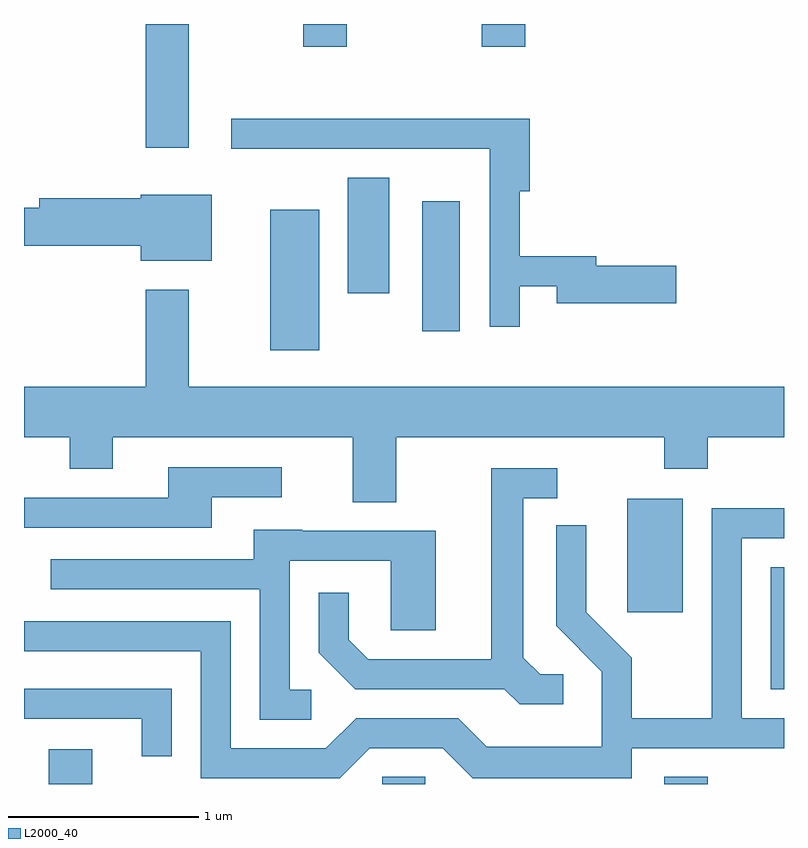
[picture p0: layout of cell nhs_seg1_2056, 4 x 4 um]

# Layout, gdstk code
import gdstk
lib = gdstk.Library(unit=1e-6, precision=1e-09)
def R(c, l, rs):  # rectangles x0, y0, x1, y1
    for r in rs: c.add(gdstk.rectangle(r[:2], r[2:], *l))
def P(c, l, *ps):  # polygons
    for p in ps: c.add(gdstk.Polygon(p, *l))
L2000_40 = (2000, 40)

nhs_seg1_2056 = lib.new_cell('nhs_seg1_2056')
R(nhs_seg1_2056, L2000_40, [(247.741,937.712,247.969,937.894), (249.496,937.712,249.724,937.749), (250.981,937.712,251.209,937.749), (251.541,938.211,251.611,938.854), (250.786,938.616,251.079,939.214), (248.906,939.996,249.164,940.734), (249.706,940.096,249.904,940.779), (249.316,940.296,249.534,940.904), (248.251,941.061,248.479,941.712), (249.081,941.591,249.309,941.712), (250.021,941.591,250.249,941.712)])
P(nhs_seg1_2056, L2000_40, [(250.219,940.331),(250.416,940.331),(250.416,940.241),(251.044,940.241),(251.044,940.439),(250.624,940.439),(250.624,940.489),(250.219,940.489),(250.219,940.831),(250.274,940.831),(250.274,941.214),(248.703,941.214),(248.703,941.056),(250.061,941.056),(250.061,940.118),(250.219,940.118)],
  [(248.599,940.814),(248.226,940.814),(248.226,940.794),(247.691,940.794),(247.691,940.744),(247.611,940.744),(247.611,940.546),(248.226,940.546),(248.226,940.466),(248.599,940.466)],
  [(249.569,939.536),(250.981,939.536),(250.981,939.371),(251.209,939.371),(251.209,939.536),(251.611,939.536),(251.611,939.804),(248.479,939.804),(248.479,940.314),(248.251,940.314),(248.251,939.804),(247.611,939.804),(247.611,939.536),(247.851,939.536),(247.851,939.371),(248.079,939.371),(248.079,939.536),(249.341,939.536),(249.341,939.196),(249.569,939.196)],
  [(248.599,939.221),(248.968,939.221),(248.968,939.379),(248.371,939.379),(248.371,939.219),(247.611,939.219),(247.611,939.061),(248.599,939.061)],
  [(250.448,938.289),(250.327,938.289),(250.239,938.377),(250.239,939.216),(250.418,939.216),(250.418,939.374),(250.071,939.374),(250.071,938.369),(249.422,938.369),(249.319,938.472),(249.319,938.718),(249.161,938.718),(249.161,938.404),(249.354,938.211),(250.139,938.211),(250.219,938.131),(250.448,938.131)],
  [(249.432,937.901),(249.814,937.901),(249.974,937.741),(250.809,937.741),(250.809,937.901),(251.611,937.901),(251.611,938.059),(251.389,938.059),(251.389,939.006),(251.611,939.006),(251.611,939.164),(251.231,939.164),(251.231,938.059),(250.809,938.059),(250.809,938.377),(250.569,938.617),(250.569,939.073),(250.411,939.073),(250.411,938.544),(250.651,938.304),(250.651,937.909),(250.047,937.909),(249.897,938.059),(249.359,938.059),(249.199,937.899),(248.699,937.899),(248.699,938.569),(247.611,938.569),(247.611,938.411),(248.541,938.411),(248.541,937.741),(249.272,937.741)],
  [(249.123,938.209),(249.009,938.209),(249.009,938.886),(249.541,938.886),(249.541,938.521),(249.779,938.521),(249.779,939.044),(249.075,939.044),(249.075,939.049),(248.821,939.049),(248.821,938.894),(247.753,938.894),(247.753,938.736),(248.851,938.736),(248.851,938.051),(249.123,938.051)],
  [(248.389,938.214),(247.611,938.214),(247.611,938.056),(248.231,938.056),(248.231,937.858),(248.389,937.858)])

lib.write_gds('nhs_seg1_2056.gds')
